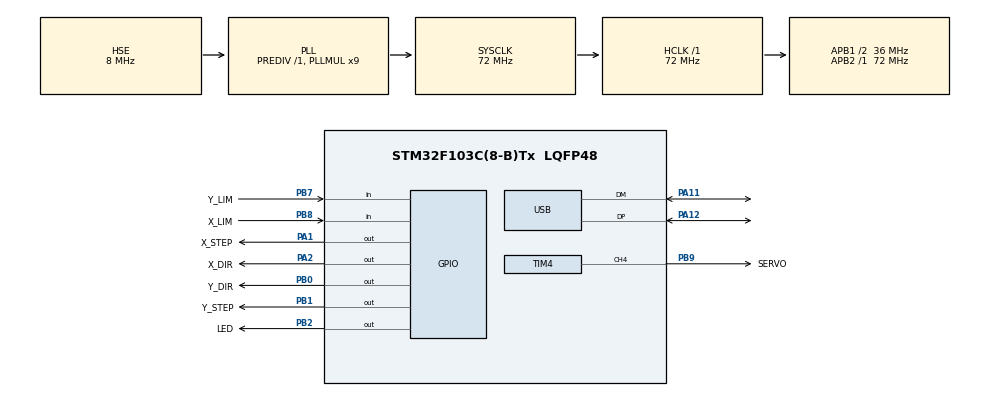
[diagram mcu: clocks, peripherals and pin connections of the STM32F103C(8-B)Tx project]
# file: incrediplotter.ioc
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Mcu.Family=STM32F1
Mcu.Name=STM32F103C(8-B)Tx
Mcu.Package=LQFP48
NVIC.PriorityGroup=NVIC_PRIORITYGROUP_4
NVIC.TIM1_CC_IRQn=true\:0\:0\:false\:false\:true\:true\:true\:true
NVIC.USB_LP_CAN1_RX0_IRQn=true\:0\:0\:false\:false\:true\:false\:true\:true
PA1.GPIO_Label=X_STEP
PA1.Signal=GPIO_Output
PA11.Mode=Device
PA11.Signal=USB_DM
PA12.Mode=Device
PA12.Signal=USB_DP
PA13.Mode=Serial_Wire
PA13.Signal=SYS_JTMS-SWDIO
PA14.Mode=Serial_Wire
PA14.Signal=SYS_JTCK-SWCLK
PA2.GPIO_Label=X_DIR
PA2.Signal=GPIO_Output
PB0.GPIO_Label=Y_DIR
PB0.Signal=GPIO_Output
PB1.GPIO_Label=Y_STEP
PB1.Signal=GPIO_Output
PB2.GPIO_Label=LED
PB2.Signal=GPIO_Output
PB7.GPIO_Label=Y_LIM
PB7.Signal=GPIO_Input
PB8.GPIO_Label=X_LIM
PB8.Signal=GPIO_Input
PB9.GPIO_Label=SERVO
PB9.Signal=S_TIM4_CH4
PD0-OSC_IN.Mode=HSE-External-Oscillator
PD0-OSC_IN.Signal=RCC_OSC_IN
PD1-OSC_OUT.Mode=HSE-External-Oscillator
PD1-OSC_OUT.Signal=RCC_OSC_OUT
ProjectManager.HeapSize=0x200
ProjectManager.StackSize=0x400
ProjectManager.TargetToolchain=STM32CubeIDE
RCC.AHBFreq_Value=72000000
RCC.APB1CLKDivider=RCC_HCLK_DIV2
RCC.APB1Freq_Value=36000000
RCC.APB1TimFreq_Value=72000000
RCC.APB2Freq_Value=72000000
RCC.APB2TimFreq_Value=72000000
RCC.HCLKFreq_Value=72000000
RCC.PLLMUL=RCC_PLL_MUL9
RCC.PLLSourceVirtual=RCC_PLLSOURCE_HSE
RCC.SYSCLKFreq_VALUE=72000000
RCC.SYSCLKSource=RCC_SYSCLKSOURCE_PLLCLK
RCC.USBFreq_Value=48000000
RCC.USBPrescaler=RCC_USBCLKSOURCE_PLL_DIV1_5
SH.S_TIM4_CH4.0=TIM4_CH4,PWM Generation4 CH4
TIM1.AutoReloadPreload=TIM_AUTORELOAD_PRELOAD_ENABLE
TIM1.Channel-Output\ Compare1\ No\ Output=TIM_CHANNEL_1
TIM1.Period=65535
TIM1.Prescaler=71
TIM4.Channel-PWM\ Generation4\ CH4=TIM_CHANNEL_4
TIM4.Period=19999
TIM4.Prescaler=71
TIM4.Pulse-PWM\ Generation4\ CH4=1500
USB_DEVICE.CLASS_NAME_FS=CDC
USB_DEVICE.VirtualMode=Cdc
USB_DEVICE.VirtualModeFS=Cdc_FS
VP_TIM1_VS_ClockSourceINT.Mode=Internal
VP_TIM1_VS_no_output1.Mode=Output Compare1 No Output
VP_TIM4_VS_ClockSourceINT.Mode=Internal
VP_USB_DEVICE_VS_USB_DEVICE_CDC_FS.Mode=CDC_FS
board=custom

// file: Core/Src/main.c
/* USER CODE BEGIN Header */
/**
  ******************************************************************************
  * @file           : main.c
  * @brief          : Main program body
  ******************************************************************************
  * @attention
  *
  * Copyright (c) 2025 STMicroelectronics.
  * All rights reserved.
  *
  * This software is licensed under terms that can be found in the LICENSE file
  * in the root directory of this software component.
  * If no LICENSE file comes with this software, it is provided AS-IS.
  *
  ******************************************************************************
  */
/* USER CODE END Header */
#include "main.h"
#include "tim.h"
#include "usb_device.h"
#include "gpio.h"

/* USER CODE BEGIN Includes */
#include "usbd_cdc_if.h"
#include <stdbool.h>
#include <stdarg.h>
#include <string.h>
#include <stdio.h>
/* USER CODE END Includes */

/* USER CODE BEGIN PD */
typedef struct {
	uint8_t opcode;
	uint8_t arg1;
	uint8_t arg2;
	uint8_t arg3;
	uint8_t arg4;
} PlotCmd;
typedef enum {
	OP_RESET,
	OP_MOVE,
	OP_PEN_DOWN,
	OP_PEN_UP,
	OP_SET_PEN_DOWN,
	OP_SET_PEN_UP,
	OP_MOVE_PEN,
	OP_HOME,
	OP_START_STORING,
	OP_STOP_STORING,
	OP_RUN_STORED,
	OP_SHOW_STORED,
	OP_LED,
	OP_STOP,
	OP_SET_X_MAX_STEPS,
	OP_SET_Y_MAX_STEPS,
	OP_SET_STEPS_PER_MM,
	OP_DEBUG,
	OP_SET_SERVO_WAIT_MS,
	OP_SET_MAX_SPEED,
	OP_MAX
} PlotCmdOpcode;
const uint8_t opcodeArgCounts[OP_MAX] = {
    [OP_RESET]         = 0,
    [OP_MOVE]          = 4, // x mm, x mm frac, y mm, y mm frac
	[OP_PEN_DOWN] = 0,
	[OP_PEN_UP] = 0,
	[OP_SET_PEN_DOWN] = 1,
	[OP_SET_PEN_UP] = 1,
	[OP_MOVE_PEN] = 1,
	[OP_HOME] = 0,
	[OP_START_STORING] = 0,
	[OP_STOP_STORING] = 0,
	[OP_RUN_STORED] = 0,
	[OP_SHOW_STORED] = 0,
	[OP_LED] = 1,
	[OP_STOP] = 0,
	[OP_SET_X_MAX_STEPS] = 2, // high low
	[OP_SET_Y_MAX_STEPS] = 0, // high low
	[OP_SET_STEPS_PER_MM] = 0,
	[OP_DEBUG] = 1,
	[OP_SET_SERVO_WAIT_MS] = 1, // ms/10
	[OP_SET_MAX_SPEED] = 1 // steps per sec / 100
};
typedef enum {
	STATE_OPCODE,
	STATE_ARG1,
	STATE_ARG2,
	STATE_ARG3,
	STATE_ARG4
} PlotCmdParseState;
typedef struct {
	int32_t x;
	int32_t y;
} Vec2i;
/* USER CODE END PD */

/* USER CODE BEGIN PM */
#define UART_BUF_SIZE 64
#define PLOT_CMD_BUF_SIZE 4096
#define DELIMITER 0xFF
#define CMD_ACK_MSG "OK\r\n"
/* USER CODE END PM */

/* USER CODE BEGIN PV */
volatile uint8_t VCP_RxBuffer[VCP_RX_BUFFER_SIZE];
volatile uint32_t VCP_RxWriteIndex = 0; // Written by USB ISR
volatile uint32_t VCP_RxReadIndex = 0;  // Read by application
volatile Vec2i targetPosSteps = {0, 0};
volatile Vec2i posSteps = {0, 0};
volatile uint8_t rxBuf[UART_BUF_SIZE];
volatile uint16_t rxBufIdx = 0;
volatile bool gotCommand = false;
bool storingPlotCmds = false;
uint32_t storingPlotCmdsIdx = 0;
uint8_t plotCmdBuf[PLOT_CMD_BUF_SIZE] = { 0 };
volatile Vec2i bresDiff = {0, 0};
volatile Vec2i bresDir = {0, 0};
volatile int32_t bresErr = 0;
volatile bool bresLineActive = false;
int stepsPerMm = 41;
Vec2i posMaxSteps = {6960, 6960};
int penUpPulseWidth = 18 * 100;
int penDownPulseWidth = 10 * 100;
uint32_t servoWaitMs = 400;
int servoWaitCountdown = -1;
bool debugPrints = false;
volatile bool justFinishedCmd = false;
bool runningStoredPlotCmds = false;
uint32_t maxSpeedStepsSec = 1000;
/* USER CODE END PV */

void SystemClock_Config(void);
/* USER CODE BEGIN PFP */
void DoPlotCmd(PlotCmd cmd);
/* USER CODE END PFP */

/* USER CODE BEGIN 0 */
int mmToSteps(int mm)
{
	return mm * stepsPerMm;
}

int mmToStepsFrac(int mm, uint8_t fractional)
{
	int wholeSteps = mm * stepsPerMm;
	int fracSteps = ((long)fractional * stepsPerMm) / 256;
	return wholeSteps + fracSteps;
}

int stepsToMm(int steps)
{
	return steps / stepsPerMm;
}

void Log(const char* fmt, ...)
{
    if (fmt == NULL) {
        return;
    }
    static char log_buffer[UART_BUF_SIZE];
    va_list args;
    va_start(args, fmt);
    int len = vsnprintf(log_buffer, UART_BUF_SIZE, fmt, args);
    va_end(args);
    if (len < 0) {
        const char* error_msg = "Log format error\n";
        CDC_Transmit_FS((uint8_t*)error_msg, strlen(error_msg));
        return;
    }
    if (len > 0) {
        uint16_t chars_to_send = (len < UART_BUF_SIZE) ? (uint16_t)len : (uint16_t)(UART_BUF_SIZE - 1);

        if (chars_to_send > 0) {
            CDC_Transmit_FS((uint8_t*)log_buffer, chars_to_send);
        }

        if (len >= UART_BUF_SIZE) {
            const char* truncation_msg = "...\n";
            CDC_Transmit_FS((uint8_t*)truncation_msg, strlen(truncation_msg));
        }
    }
}

uint8_t GetOpcodeArgCount(PlotCmdOpcode opcode)
{
    if ((unsigned)opcode < OP_MAX) {
        return opcodeArgCounts[opcode];
    } else {
        return 0xFF;
    }
}

void USB_DEVICE_MasterHardReset(void)
{
	GPIO_InitTypeDef GPIO_InitStruct;
	GPIO_InitStruct.Pin = GPIO_PIN_12;
	GPIO_InitStruct.Mode = GPIO_MODE_OUTPUT_PP;
	GPIO_InitStruct.Pull = GPIO_PULLDOWN;
	GPIO_InitStruct.Speed = GPIO_SPEED_FREQ_HIGH;
	HAL_GPIO_Init(GPIOA, &GPIO_InitStruct);
	HAL_GPIO_WritePin(GPIOA,GPIO_PIN_12, 0);
	HAL_Delay(300);
}

// VCP = virtual com port
int VCP_ReadChar(uint8_t *pChar)
{
  if (VCP_RxReadIndex != VCP_RxWriteIndex) // Check if buffer is not empty
  {
    *pChar = VCP_RxBuffer[VCP_RxReadIndex];
    VCP_RxReadIndex = (VCP_RxReadIndex + 1) % VCP_RX_BUFFER_SIZE;
    return 1; // Character read successfully
  }
  return 0; // Buffer is empty
}

void SetPenServoPulseWidth(int microseconds)
{
	if (microseconds <= 0)
	{
		// disable the servo
		__HAL_TIM_SET_COMPARE(&htim4, TIM_CHANNEL_4, 0);
		return;
	}
	if (microseconds < 500)
	{
		microseconds = 500;
	}
	__HAL_TIM_SET_COMPARE(&htim4, TIM_CHANNEL_4, microseconds);
}

bool ParsePlotCmdByte(PlotCmd* cmd, PlotCmdParseState* state, uint8_t newByte)
{
	if (newByte == DELIMITER)
	{
		*state = STATE_OPCODE;
		return false;
	}
	bool cmdCompleted = false;
	uint8_t argCount = GetOpcodeArgCount(cmd->opcode);
	switch (*state)
	{
	case STATE_OPCODE:
		cmd->opcode = newByte;
		argCount = GetOpcodeArgCount(cmd->opcode);
		if (argCount == 0) {
			*state = STATE_OPCODE;
			cmdCompleted = true;
		} else {
			*state = STATE_ARG1;
		}
		break;
	case STATE_ARG1:
		cmd->arg1 = newByte;
		if (argCount == 1) {
			*state = STATE_OPCODE;
			cmdCompleted = true;
		} else {
			*state = STATE_ARG2;
		}
		break;
	case STATE_ARG2:
		cmd->arg2 = newByte;
		if (argCount == 2) {
			*state = STATE_OPCODE;
			cmdCompleted = true;
		} else {
			*state = STATE_ARG3;
		}
		break;
	case STATE_ARG3:
		cmd->arg3 = newByte;
		if (argCount == 3) {
			*state = STATE_OPCODE;
			cmdCompleted = true;
		} else {
			*state = STATE_ARG4;
		}
		break;
	case STATE_ARG4:
		cmd->arg4 = newByte;
		*state = STATE_OPCODE;
		cmdCompleted = true;
		break;
	default:
		*state = STATE_OPCODE;
		break;
	}
	return cmdCompleted;
}

// returns false if overflowed  (command storage isn't big enough)
// or invalid opcode
bool StorePlotCmd(PlotCmd cmd)
{
	if (storingPlotCmdsIdx > PLOT_CMD_BUF_SIZE - 1)
	{
		Log("STORAGE: OVERFLOW! (0)\r\n");
		return false;
	}
	if (cmd.opcode >= OP_MAX)
	{
		Log("STORAGE: INVALID OPCODE!\r\n");
		return false;
	}
	uint8_t numArgs = GetOpcodeArgCount(cmd.opcode);
	uint8_t numBToStore = 1 + numArgs;
	if (storingPlotCmdsIdx + numBToStore > PLOT_CMD_BUF_SIZE - 1)
	{
		Log("STORAGE: OVERFLOW! (1)\r\n");
		return false;
	}
	plotCmdBuf[storingPlotCmdsIdx] = cmd.opcode;
	switch (numArgs)
	{
	case 0:
		break;
	case 1:
		plotCmdBuf[storingPlotCmdsIdx + 1] = cmd.arg1;
		break;
	case 2:
		plotCmdBuf[storingPlotCmdsIdx + 1] = cmd.arg1;
		plotCmdBuf[storingPlotCmdsIdx + 2] = cmd.arg2;
		break;
	case 3:
		plotCmdBuf[storingPlotCmdsIdx + 1] = cmd.arg1;
		plotCmdBuf[storingPlotCmdsIdx + 2] = cmd.arg2;
		plotCmdBuf[storingPlotCmdsIdx + 3] = cmd.arg3;
		break;
	case 4:
		plotCmdBuf[storingPlotCmdsIdx + 1] = cmd.arg1;
		plotCmdBuf[storingPlotCmdsIdx + 2] = cmd.arg2;
		plotCmdBuf[storingPlotCmdsIdx + 3] = cmd.arg3;
		plotCmdBuf[storingPlotCmdsIdx + 4] = cmd.arg4;
		break;
	default:
		break;
	}
	storingPlotCmdsIdx += numBToStore;
	bool overflowed = false;
	if (storingPlotCmdsIdx > PLOT_CMD_BUF_SIZE)
	{
		overflowed = true;
		storingPlotCmdsIdx = 0;
	}
	return !overflowed;
}

void LogPlotCmdStorage()
{
	int argCounter = 0;
	for (int i = 0; i < storingPlotCmdsIdx; i++)
	{
		uint8_t b = plotCmdBuf[i];
		Log("%02X ", b);
		if (argCounter == 0)
		{
			argCounter = GetOpcodeArgCount(b);
			if (argCounter == 0) {
				Log("\r\n");
			}
		} else {
			argCounter--;
			if (argCounter == 0) {
				Log("\r\n");
			}
		}
	}
}

// Called when new target position is set
void SetupLineMovement(int x, int y)
{
	targetPosSteps.x = x;
	targetPosSteps.y = y;
	if (targetPosSteps.x > posMaxSteps.x) {
		targetPosSteps.x = posMaxSteps.x;
	}
	if (targetPosSteps.y > posMaxSteps.y) {
		targetPosSteps.y = posMaxSteps.y;
	}
	if (posSteps.x == targetPosSteps.x && posSteps.y == targetPosSteps.y)
	{
		justFinishedCmd = true;
		Log(CMD_ACK_MSG);
		bresLineActive = false;
		return;
	}
	bresDiff.x = abs(targetPosSteps.x - posSteps.x);
	bresDir.x = (posSteps.x < targetPosSteps.x) ? 1 : -1;
	bresDiff.y = abs(targetPosSteps.y - posSteps.y);
	bresDir.y = (posSteps.y < targetPosSteps.y) ? 1 : -1;
	if (bresDiff.x > bresDiff.y)
	{
		bresErr = (2 * bresDiff.y) - bresDiff.x;
	} else {
		bresErr = (2 * bresDiff.x) - bresDiff.y;
	}
	bresLineActive = true;
	// X needs to be flipped because of the wiring at the present time
	HAL_GPIO_WritePin(X_DIR_GPIO_Port, X_DIR_Pin, bresDir.x > 0 ? GPIO_PIN_RESET : GPIO_PIN_SET);
	HAL_GPIO_WritePin(Y_DIR_GPIO_Port, Y_DIR_Pin, bresDir.y > 0 ? GPIO_PIN_SET : GPIO_PIN_RESET);
}

void Stop()
{
	targetPosSteps.x = posSteps.x;
	targetPosSteps.y = posSteps.y;
	bresLineActive = false;
}

void SetStepperSpeed(int stepsPerSec)
{
	// find what the 1 mhz counter should count to
	uint16_t cmpVal = 0;
	if (stepsPerSec <= 0)
	{
		cmpVal = 0xFFFF;
	} else {
		const int timerFreq = 1000000; // has to be consistent with the ioc setup. could find what variable it changes but eh.
		cmpVal = timerFreq / stepsPerSec;
	}
	__HAL_TIM_SET_COMPARE(&htim1, TIM_CHANNEL_1, cmpVal);
}

// true on success
bool RunStoredPlotCmds(uint8_t* plotCmdBuf, size_t maxIdx)
{
	if (runningStoredPlotCmds)
	{
		return false;
	}
	runningStoredPlotCmds = true;
	size_t idx = 0;
	while (idx < maxIdx) {
		PlotCmd cmdToRun = { 0 };
		cmdToRun.opcode = plotCmdBuf[idx];
		idx++;
		if (cmdToRun.opcode >= OP_MAX)
		{
			Log("PLAYBACK: INVALID OPCODE!\r\n");
			runningStoredPlotCmds = false;
			return false;
		}
		uint8_t numArgs = GetOpcodeArgCount(cmdToRun.opcode);
		if (idx + numArgs > maxIdx)
		{
			Log("PLAYBACK: OVERRUN!\r\n");
			runningStoredPlotCmds = false;
			return false;
		}
		if (numArgs > 0) {
			cmdToRun.arg1 = plotCmdBuf[idx++];
		}
		if (numArgs > 1) {
			cmdToRun.arg2 = plotCmdBuf[idx++];
		}
		if (numArgs > 2) {
			cmdToRun.arg3 = plotCmdBuf[idx++];
		}
		if (numArgs > 3) {
			cmdToRun.arg4 = plotCmdBuf[idx++];
		}
		justFinishedCmd = false;
		DoPlotCmd(cmdToRun);
		int c = 0;
		while (!justFinishedCmd)
		{
			HAL_Delay(1);
			c++;
			if (c > 8000)
			{
				Log("Timed out.\r\n");
				break;
			}
			if (servoWaitCountdown > 0)
			{
				servoWaitCountdown--;
			}
			if (servoWaitCountdown == 0)
			{
				servoWaitCountdown = -1;
				justFinishedCmd = true;
			}
		}
		justFinishedCmd = false;
	}
	runningStoredPlotCmds = false;
	Log("Done.\r\n");
	return true;
}

void LogPlotCmd(PlotCmd cmd)
{
	Log("Op: %02X args: %02X %02X %02X %02X\r\n",
		cmd.opcode, cmd.arg1, cmd.arg2, cmd.arg3, cmd.arg4);
}

void DoPlotCmd(PlotCmd cmd)
{
	if (cmd.opcode >= OP_MAX)
	{
		Log("INVALID OPCODE!\r\n");
		return;
	}
	if (debugPrints)
	{
		LogPlotCmd(cmd);
	}
	if (cmd.opcode == OP_STOP_STORING)
	{
		Log("Storing stopped.");
		storingPlotCmds = false;
	}
	if (storingPlotCmds)
	{
		StorePlotCmd(cmd);
		return;
	}
	bool immediateReply = true;
	switch (cmd.opcode)
	{
	case OP_MOVE:
		SetupLineMovement(mmToStepsFrac(cmd.arg1, cmd.arg2), mmToStepsFrac(cmd.arg3, cmd.arg4));
		immediateReply = false;
		break;
	case OP_PEN_DOWN:
		SetPenServoPulseWidth(penDownPulseWidth);
		servoWaitCountdown = servoWaitMs;
		immediateReply = false;
		break;
	case OP_PEN_UP:
		SetPenServoPulseWidth(penUpPulseWidth);
		servoWaitCountdown = servoWaitMs;
		immediateReply = false;
		break;
	case OP_SET_PEN_DOWN:
		penDownPulseWidth = (int)cmd.arg1 * 100;
		break;
	case OP_SET_PEN_UP:
		penUpPulseWidth = (int)cmd.arg1 * 100;
		break;
	case OP_MOVE_PEN:
		SetPenServoPulseWidth((int)cmd.arg1 * 100);
		break;
	case OP_HOME:
		// todo
		break;
	case OP_START_STORING:
		storingPlotCmdsIdx = 0;
		storingPlotCmds = true;
		Log("Storing started.");
		break;
	case OP_STOP_STORING:
		// Handled before this switch statement.
		break;
	case OP_RUN_STORED:
		RunStoredPlotCmds(plotCmdBuf, storingPlotCmdsIdx);
		break;
	case OP_SHOW_STORED:
		LogPlotCmdStorage();
		break;
	case OP_LED:
		HAL_GPIO_WritePin(LED_GPIO_Port, LED_Pin, cmd.arg1 != 0);
		break;
	case OP_STOP:
		Stop();
		break;
	case OP_SET_X_MAX_STEPS:
		posMaxSteps.x = (cmd.arg1 << 8) | cmd.arg2;
		break;
	case OP_SET_Y_MAX_STEPS:
		posMaxSteps.y = (cmd.arg1 << 8) | cmd.arg2;
		break;
	case OP_SET_STEPS_PER_MM:
		stepsPerMm = cmd.arg1;
		break;
	case OP_DEBUG:
		debugPrints = (bool)cmd.arg1;
		if (debugPrints)
		{
			Log("Debug prints on.");
		} else {
			Log("Debug prints off.");
		}
		break;
	case OP_SET_SERVO_WAIT_MS:
		servoWaitMs = cmd.arg1 * 10;
		break;
	case OP_SET_MAX_SPEED:
		maxSpeedStepsSec = cmd.arg1 * 100;
		SetStepperSpeed(maxSpeedStepsSec);
		break;
	default:
		break;
	}
	if (immediateReply)
	{
		justFinishedCmd = true;
		Log(CMD_ACK_MSG);
	}
}
/* USER CODE END 0 */

int main(void)
{

  /* MCU Configuration--------------------------------------------------------*/

  /* Reset of all peripherals, Initializes the Flash interface and the Systick. */
  HAL_Init();

  /* Configure the system clock */
  SystemClock_Config();

  /* Initialize all configured peripherals */
  MX_GPIO_Init();
  USB_DEVICE_MasterHardReset();
  MX_USB_DEVICE_Init();
  MX_TIM1_Init();
  MX_TIM4_Init();
  /* USER CODE BEGIN 2 */
  if (HAL_TIM_Base_Start_IT(&htim1) != HAL_OK)
  {
	  Error_Handler();
  }
  if (HAL_TIM_PWM_Start(&htim4, TIM_CHANNEL_4))
  {
	Error_Handler();
  }
  targetPosSteps.x = 0;
  targetPosSteps.y = 0;
  const char msg[] = "****** Incrediplotter v0.3 ******\r\n";
  CDC_Transmit_FS((uint8_t*)msg, strlen(msg));
  const char hi[] = "hello world";
  CDC_Transmit_FS((uint8_t*)hi, strlen(hi));
  const char hi2[] = "another message";
  CDC_Transmit_FS((uint8_t*)hi2, strlen(hi2));
  /* USER CODE END 2 */

  /* Infinite loop */
  /* USER CODE BEGIN WHILE */
  static PlotCmd currentPlotCmd = { 0 };
  static PlotCmdParseState plotCmdParseState = STATE_OPCODE;
  while (1)
  {
//	sprintf(txBuf, "ugh %u\r\n", count);
//	count++;
//	CDC_Transmit_FS((uint8_t*)txBuf, strlen(txBuf));
//	HAL_Delay(100);
	uint8_t rxByte = 0;
	bool cmdCompleted = false;
	if (VCP_ReadChar(&rxByte))
	{
		//sprintf(txBuf, "Got 0x%02X\r\n", rxByte);
		//CDC_Transmit_FS((uint8_t*)txBuf, strlen(txBuf));
		PlotCmdParseState stateBefore = plotCmdParseState;
		cmdCompleted = ParsePlotCmdByte(&currentPlotCmd, &plotCmdParseState, rxByte);
		if (debugPrints)
		{
			Log("Rx: %02X\r\nbefore: %u | after: %u\r\ncmdCompleted: %u\r\n---\r\n",
					rxByte, stateBefore, plotCmdParseState, cmdCompleted);
		}
	}
	if (cmdCompleted) {
		cmdCompleted = false;
		DoPlotCmd(currentPlotCmd);
	}
	if (justFinishedCmd)
	{
		justFinishedCmd = false;
		Log(CMD_ACK_MSG);
	}
    /* USER CODE END WHILE */

  }
}

void SystemClock_Config(void)
{
  RCC_OscInitTypeDef RCC_OscInitStruct = {0};
  RCC_ClkInitTypeDef RCC_ClkInitStruct = {0};
  RCC_PeriphCLKInitTypeDef PeriphClkInit = {0};

  /** Initializes the RCC Oscillators according to the specified parameters
  * in the RCC_OscInitTypeDef structure.
  */
  RCC_OscInitStruct.OscillatorType = RCC_OSCILLATORTYPE_HSE;
  RCC_OscInitStruct.HSEState = RCC_HSE_ON;
  RCC_OscInitStruct.HSEPredivValue = RCC_HSE_PREDIV_DIV1;
  RCC_OscInitStruct.HSIState = RCC_HSI_ON;
  RCC_OscInitStruct.PLL.PLLState = RCC_PLL_ON;
  RCC_OscInitStruct.PLL.PLLSource = RCC_PLLSOURCE_HSE;
  RCC_OscInitStruct.PLL.PLLMUL = RCC_PLL_MUL9;
  if (HAL_RCC_OscConfig(&RCC_OscInitStruct) != HAL_OK)
  {
    Error_Handler();
  }

  /** Initializes the CPU, AHB and APB buses clocks
  */
  RCC_ClkInitStruct.ClockType = RCC_CLOCKTYPE_HCLK|RCC_CLOCKTYPE_SYSCLK
                              |RCC_CLOCKTYPE_PCLK1|RCC_CLOCKTYPE_PCLK2;
  RCC_ClkInitStruct.SYSCLKSource = RCC_SYSCLKSOURCE_PLLCLK;
  RCC_ClkInitStruct.AHBCLKDivider = RCC_SYSCLK_DIV1;
  RCC_ClkInitStruct.APB1CLKDivider = RCC_HCLK_DIV2;
  RCC_ClkInitStruct.APB2CLKDivider = RCC_HCLK_DIV1;

  if (HAL_RCC_ClockConfig(&RCC_ClkInitStruct, FLASH_LATENCY_2) != HAL_OK)
  {
    Error_Handler();
  }
  PeriphClkInit.PeriphClockSelection = RCC_PERIPHCLK_USB;
  PeriphClkInit.UsbClockSelection = RCC_USBCLKSOURCE_PLL_DIV1_5;
  if (HAL_RCCEx_PeriphCLKConfig(&PeriphClkInit) != HAL_OK)
  {
    Error_Handler();
  }
}

/* USER CODE BEGIN 4 */

void Periodic()
{
	if (!bresLineActive)
	{
		return;
	}
	if (posSteps.x == targetPosSteps.x &&
		posSteps.y == targetPosSteps.y)
	{
		justFinishedCmd = true;
		bresLineActive = false;
		return;
	}
	bool stepX = false;
	bool stepY = false;
	if (bresDiff.x > bresDiff.y)
	{ // Gentle slope
		if (bresErr >= 0)
		{
			stepY = true;
			bresErr -= 2 * bresDiff.x;
		}
		stepX = true;
		bresErr += 2 * bresDiff.y;
	} else { // Steep slope
		if (bresErr >= 0)
		{
			stepX = true;
			bresErr -= 2 * bresDiff.y;
		}
		stepY = true;
		bresErr += 2 * bresDiff.x;
	}
	if (posSteps.x + bresDir.x < 0 ||
			posSteps.x + bresDir.x > posMaxSteps.x)
	{
		stepX = false;
	}
	if (posSteps.y + bresDir.y < 0 ||
				posSteps.y + bresDir.y > posMaxSteps.y)
	{
		stepY = false;
	}
	if (stepX)
	{
		posSteps.x += bresDir.x;
		HAL_GPIO_WritePin(X_STEP_GPIO_Port, X_STEP_Pin, GPIO_PIN_SET);
		volatile int delayer = 10; while (delayer > 0) { delayer--; }
		HAL_GPIO_WritePin(X_STEP_GPIO_Port, X_STEP_Pin, GPIO_PIN_RESET);
	}
	if (stepY)
	{

		posSteps.y += bresDir.y;
		HAL_GPIO_WritePin(Y_STEP_GPIO_Port, Y_STEP_Pin, GPIO_PIN_SET);
		volatile int delayer = 10; while (delayer > 0) { delayer--; }
		HAL_GPIO_WritePin(Y_STEP_GPIO_Port, Y_STEP_Pin, GPIO_PIN_RESET);
	}
}

void HAL_TIM_OC_DelayElapsedCallback(TIM_HandleTypeDef *htim)
{
	if (htim->Instance == TIM1)
	{
		Periodic();
	}
}

/* USER CODE END 4 */

void Error_Handler(void)
{
  __disable_irq();
  while (1)
  {
  }
}
